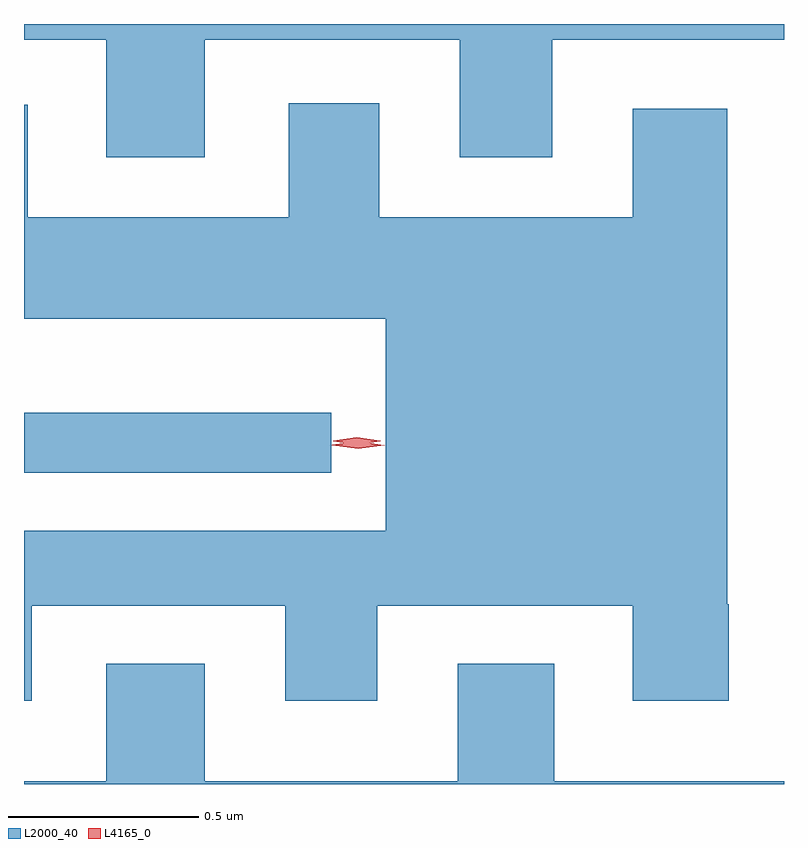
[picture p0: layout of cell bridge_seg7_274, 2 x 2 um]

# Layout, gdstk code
import gdstk
lib = gdstk.Library(unit=1e-6, precision=1e-09)
def R(c, l, rs):  # rectangles x0, y0, x1, y1
    for r in rs: c.add(gdstk.rectangle(r[:2], r[2:], *l))
def P(c, l, *ps):  # polygons
    for p in ps: c.add(gdstk.Polygon(p, *l))
L2000_40 = (2000, 40)
L4165_0 = (4165, 0)

bridge_seg7_274 = lib.new_cell('bridge_seg7_274')
R(bridge_seg7_274, L2000_40, [(1436.429,1766.456,1437.238,1766.614)])
P(bridge_seg7_274, L2000_40, [(1436.904,1767.596),(1437.576,1767.596),(1437.576,1767.286),(1437.819,1767.286),(1437.819,1767.596),(1438.429,1767.596),(1438.429,1767.637),(1436.429,1767.637),(1436.429,1767.596),(1436.646,1767.596),(1436.646,1767.286),(1436.904,1767.286)],
  [(1436.449,1766.106),(1437.116,1766.106),(1437.116,1765.856),(1437.359,1765.856),(1437.359,1766.106),(1438.031,1766.106),(1438.031,1765.856),(1438.284,1765.856),(1438.284,1766.11),(1438.279,1766.11),(1438.279,1767.414),(1438.031,1767.414),(1438.031,1767.129),(1437.364,1767.129),(1437.364,1767.429),(1437.126,1767.429),(1437.126,1767.129),(1436.439,1767.129),(1436.439,1767.424),(1436.429,1767.424),(1436.429,1766.861),(1437.381,1766.861),(1437.381,1766.304),(1436.429,1766.304),(1436.429,1765.856),(1436.449,1765.856)],
  [(1438.429,1765.644),(1437.824,1765.644),(1437.824,1765.954),(1437.571,1765.954),(1437.571,1765.644),(1436.904,1765.644),(1436.904,1765.954),(1436.646,1765.954),(1436.646,1765.644),(1436.429,1765.644),(1436.429,1765.637),(1438.429,1765.637)])
P(bridge_seg7_274, L4165_0, [(1437.308,1766.519),(1437.24,1766.528),(1437.239,1766.529),(1437.24,1766.53),(1437.308,1766.539),(1437.377,1766.529),(1437.378,1766.529),(1437.377,1766.528)],
  [(1437.305,1766.53),(1437.243,1766.539),(1437.243,1766.539),(1437.243,1766.54),(1437.305,1766.549),(1437.367,1766.54),(1437.368,1766.54),(1437.367,1766.539)])

lib.write_gds('bridge_seg7_274.gds')
